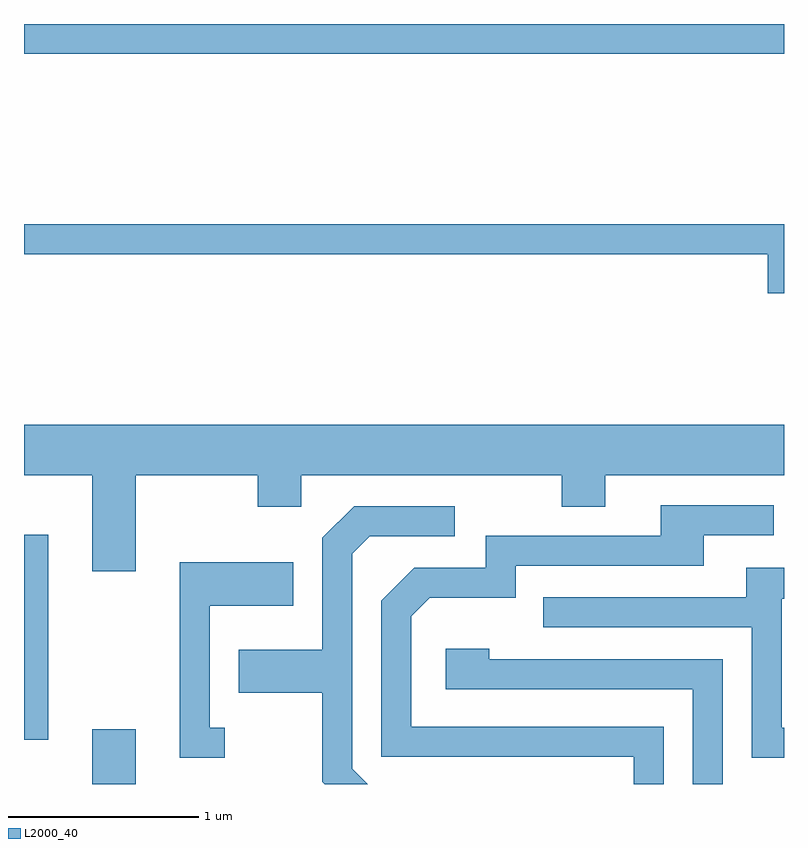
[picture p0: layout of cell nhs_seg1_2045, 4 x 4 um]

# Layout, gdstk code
import gdstk
lib = gdstk.Library(unit=1e-6, precision=1e-09)
def R(c, l, rs):  # rectangles x0, y0, x1, y1
    for r in rs: c.add(gdstk.rectangle(r[:2], r[2:], *l))
def P(c, l, *ps):  # polygons
    for p in ps: c.add(gdstk.Polygon(p, *l))
L2000_40 = (2000, 40)

nhs_seg1_2045 = lib.new_cell('nhs_seg1_2045')
R(nhs_seg1_2045, L2000_40, [(247.971,915.712,248.199,915.999), (247.611,915.946,247.739,917.024), (247.611,919.556,251.611,919.712)])
P(nhs_seg1_2045, L2000_40, [(251.611,918.659),(247.611,918.659),(247.611,918.501),(251.526,918.501),(251.526,918.296),(251.611,918.296)],
  [(248.199,917.336),(248.841,917.336),(248.841,917.171),(249.069,917.171),(249.069,917.336),(250.441,917.336),(250.441,917.171),(250.669,917.171),(250.669,917.336),(251.611,917.336),(251.611,917.604),(247.611,917.604),(247.611,917.336),(247.971,917.336),(247.971,916.831),(248.199,916.831)],
  [(250.979,916.014),(249.649,916.014),(249.649,916.594),(249.747,916.691),(250.199,916.691),(250.199,916.861),(251.189,916.861),(251.189,917.021),(251.558,917.021),(251.558,917.179),(250.961,917.179),(250.961,917.019),(250.041,917.019),(250.041,916.849),(249.664,916.849),(249.491,916.677),(249.491,915.856),(250.821,915.856),(250.821,915.712),(250.979,915.712)],
  [(249.339,915.792),(249.339,916.924),(249.432,917.016),(249.878,917.016),(249.878,917.174),(249.349,917.174),(249.181,917.007),(249.181,916.419),(248.741,916.419),(248.741,916.191),(249.181,916.191),(249.181,915.724),(249.193,915.712),(249.419,915.712)],
  [(248.668,916.009),(248.589,916.009),(248.589,916.651),(249.029,916.651),(249.029,916.879),(248.431,916.879),(248.431,915.851),(248.668,915.851)],
  [(251.611,916.009),(251.599,916.009),(251.599,916.686),(251.611,916.686),(251.611,916.849),(251.411,916.849),(251.411,916.694),(250.343,916.694),(250.343,916.536),(251.441,916.536),(251.441,915.851),(251.611,915.851)],
  [(251.289,916.369),(250.059,916.369),(250.059,916.424),(249.831,916.424),(249.831,916.211),(251.131,916.211),(251.131,915.712),(251.289,915.712)])

lib.write_gds('nhs_seg1_2045.gds')
